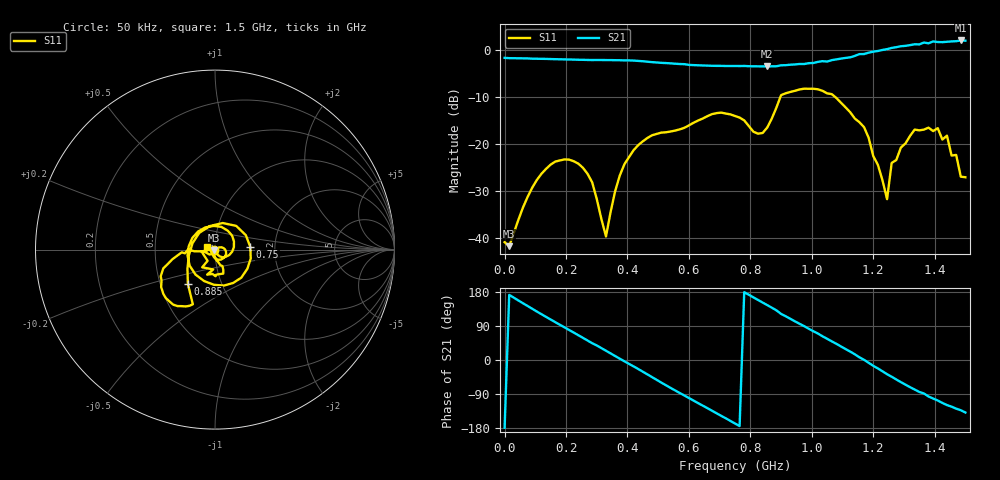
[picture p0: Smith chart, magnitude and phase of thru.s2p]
! Created with skrf 1.8.0 (http://scikit-rf.org).
# Hz S RI R 50.0
!freq ReS11 ImS11 ReS21 ImS21 ReS12 ImS12 ReS22 ImS22
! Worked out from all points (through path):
!   101 points, 50 kHz to 1.5 GHz, reference 50 ohm
!   highest |S21| = 1.97 dB at 1.485 GHz (marker M1); lowest = -3.6 dB at 855 MHz (marker M2)
!   lowest |S11| = -41.8 dB at 15.05 MHz (marker M3), VSWR 1.02, Z = 49.3 - j0.313 ohm
!   |S11| at or under -10 dB: start of sweep to 898.1 MHz; 1.075 GHz to end of sweep
!   S12 and S22 are empty: the file has one direction only
!   S11 on the Smith chart (normalised r, x): 50 kHz: 0.99, -0.01; 750 MHz: 1.49, +0.05; 885 MHz: 0.69, -0.28; 1.5 GHz: 0.92, +0.02
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50000  -0.0075 -0.00493  -0.8187 -0.015  0 0  0 0
1.50495e7  -0.00749 -0.00318  -0.8052 0.1155  0 0  0 0
1.20046e8  -0.000252 -0.0479  -0.4094 0.6876  0 0  0 0
2.550415e8  0.0555 0.00129  0.4089 0.6653  0 0  0 0
3.30039e8  0.00959 -0.00381  0.7069 0.3205  0 0  0 0
3.90037e8  0.0426 -0.0431  0.7682 -0.047  0 0  0 0
5.10033e8  0.0354 0.1265  0.3674 -0.6255  0 0  0 0
6.0003e8  -0.153 -0.0333  -0.1246 -0.6786  0 0  0 0
6.60028e8  -0.00535 -0.1963  -0.4079 -0.5409  0 0  0 0
7.50025e8  0.1968 0.0147  -0.6557 -0.1449  0 0  0 0
7.950235e8  0.0429 0.148  -0.6616 0.0909  0 0  0 0
8.550215e8  -0.1455 -0.0314  -0.5426 0.3823  0 0  0 0
8.850205e8  -0.1512 -0.1907  -0.4367 0.5042  0 0  0 0
1.005016e9  -0.2738 -0.2702  0.1756 0.7013  0 0  0 0
1.080014e9  -0.2882 -0.1048  0.5805 0.535  0 0  0 0
1.170011e9  -0.1503 0.000534  0.8995 0.00786  0 0  0 0
1.245008e9  -0.00845 -0.0243  0.8053 -0.6168  0 0  0 0
1.260008e9  0.00902 -0.0618  0.7501 -0.7279  0 0  0 0
1.335006e9  0.0461 -0.1337  0.2382 -1.119  0 0  0 0
1.410003e9  -0.0439 -0.1397  -0.351 -1.155  0 0  0 0
1.485e9  -0.0443 -0.00546  -0.849 -0.9239  0 0  0 0
1.5e9  -0.042 0.0134  -0.9356 -0.8251  0 0  0 0
